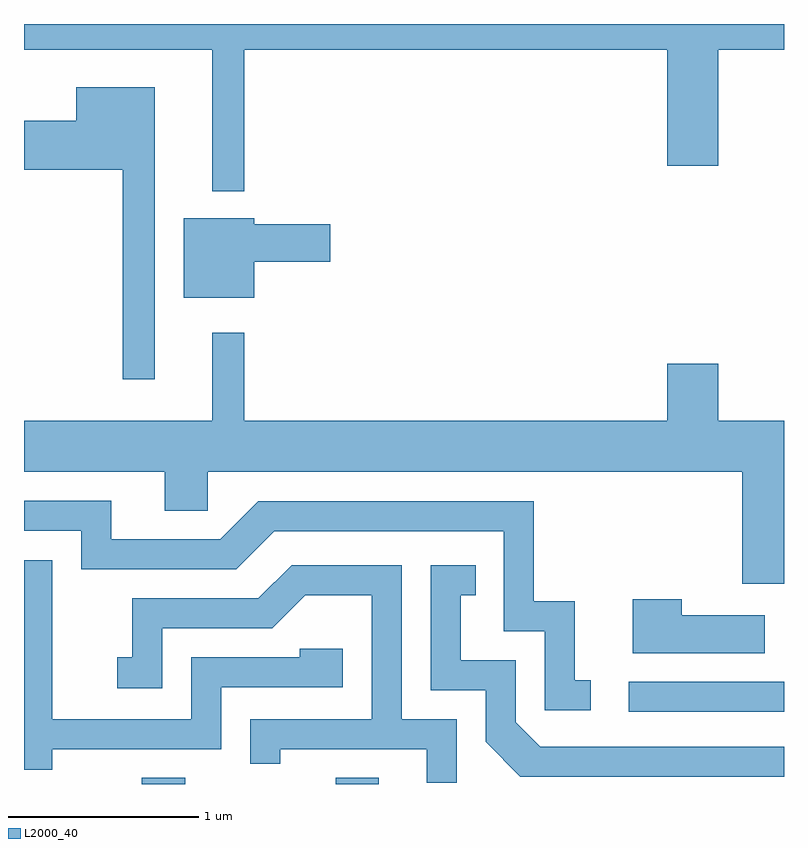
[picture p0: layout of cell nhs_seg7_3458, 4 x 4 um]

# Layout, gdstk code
import gdstk
lib = gdstk.Library(unit=1e-6, precision=1e-09)
def R(c, l, rs):  # rectangles x0, y0, x1, y1
    for r in rs: c.add(gdstk.rectangle(r[:2], r[2:], *l))
def P(c, l, *ps):  # polygons
    for p in ps: c.add(gdstk.Polygon(p, *l))
L2000_40 = (2000, 40)

nhs_seg7_3458 = lib.new_cell('nhs_seg7_3458')
R(nhs_seg7_3458, L2000_40, [(292.231,1688.252,292.459,1688.284), (293.251,1688.252,293.479,1688.284), (294.793,1688.631,295.611,1688.789)])
P(nhs_seg7_3458, L2000_40, [(292.769,1692.116),(294.996,1692.116),(294.996,1691.506),(295.264,1691.506),(295.264,1692.116),(295.611,1692.116),(295.611,1692.252),(291.611,1692.252),(291.611,1692.116),(292.601,1692.116),(292.601,1691.373),(292.769,1691.373)],
  [(292.299,1691.919),(291.886,1691.919),(291.886,1691.744),(291.611,1691.744),(291.611,1691.486),(292.131,1691.486),(292.131,1690.383),(292.299,1690.383)],
  [(292.824,1691.001),(293.224,1691.001),(293.224,1691.199),(292.824,1691.199),(292.824,1691.229),(292.451,1691.229),(292.451,1690.811),(292.824,1690.811)],
  [(295.611,1690.164),(295.264,1690.164),(295.264,1690.464),(294.996,1690.464),(294.996,1690.164),(292.769,1690.164),(292.769,1690.628),(292.601,1690.628),(292.601,1690.164),(291.611,1690.164),(291.611,1689.896),(292.351,1689.896),(292.351,1689.691),(292.579,1689.691),(292.579,1689.896),(295.391,1689.896),(295.391,1689.306),(295.611,1689.306)],
  [(294.593,1688.799),(294.509,1688.799),(294.509,1689.214),(294.294,1689.214),(294.294,1689.739),(292.844,1689.739),(292.644,1689.539),(292.069,1689.539),(292.069,1689.744),(291.611,1689.744),(291.611,1689.586),(291.911,1689.586),(291.911,1689.381),(292.727,1689.381),(292.927,1689.581),(294.136,1689.581),(294.136,1689.056),(294.351,1689.056),(294.351,1688.641),(294.593,1688.641)],
  [(291.759,1688.436),(292.649,1688.436),(292.649,1688.761),(293.289,1688.761),(293.289,1688.964),(293.061,1688.964),(293.061,1688.919),(292.491,1688.919),(292.491,1688.594),(291.759,1688.594),(291.759,1689.429),(291.611,1689.429),(291.611,1688.326),(291.759,1688.326)],
  [(295.611,1688.449),(294.327,1688.449),(294.199,1688.577),(294.199,1688.904),(293.909,1688.904),(293.909,1689.246),(293.988,1689.246),(293.988,1689.404),(293.751,1689.404),(293.751,1688.746),(294.041,1688.746),(294.041,1688.474),(294.224,1688.291),(295.611,1688.291)],
  [(293.889,1688.594),(293.599,1688.594),(293.599,1689.404),(293.019,1689.404),(292.844,1689.229),(292.181,1689.229),(292.181,1688.919),(292.103,1688.919),(292.103,1688.756),(292.339,1688.756),(292.339,1689.071),(292.917,1689.071),(293.092,1689.246),(293.441,1689.246),(293.441,1688.594),(292.801,1688.594),(292.801,1688.358),(292.959,1688.358),(292.959,1688.436),(293.731,1688.436),(293.731,1688.258),(293.889,1688.258)],
  [(295.509,1689.139),(295.074,1689.139),(295.074,1689.224),(294.816,1689.224),(294.816,1688.941),(295.509,1688.941)])

lib.write_gds('nhs_seg7_3458.gds')
